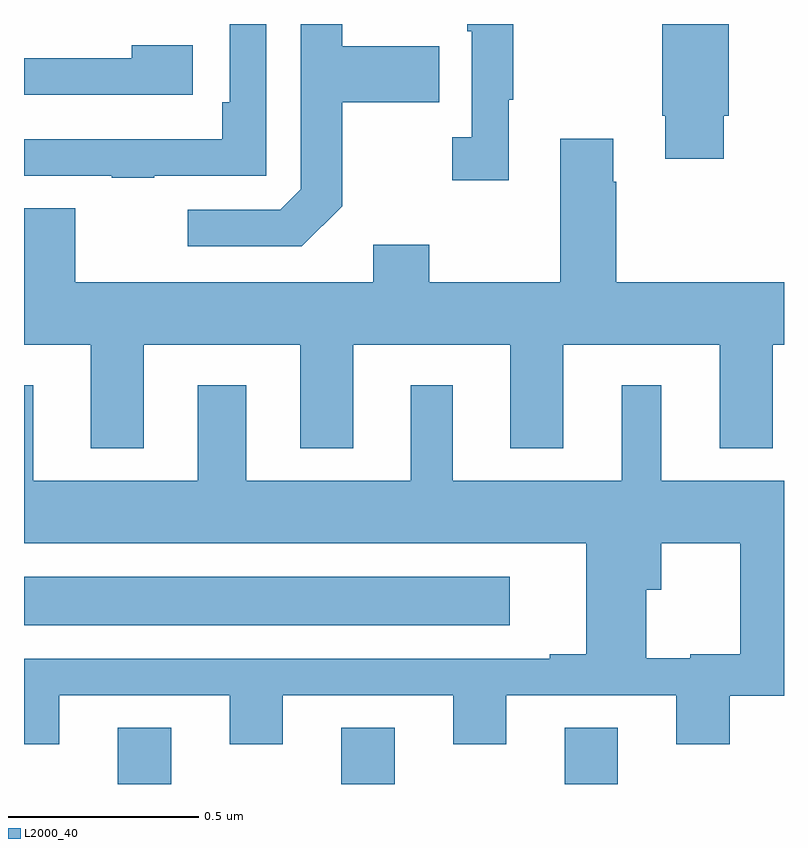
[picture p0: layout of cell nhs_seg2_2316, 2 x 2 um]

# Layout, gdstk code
import gdstk
lib = gdstk.Library(unit=1e-6, precision=1e-09)
def R(c, l, rs):  # rectangles x0, y0, x1, y1
    for r in rs: c.add(gdstk.rectangle(r[:2], r[2:], *l))
def A(c, l, x, y, w, h, nx, ny, dx, dy):  # array of equal rectangles
    R(c, l, [(x+i*dx, y+j*dy, x+i*dx+w, y+j*dy+h) for i in range(nx) for j in range(ny)])
def P(c, l, *ps):  # polygons
    for p in ps: c.add(gdstk.Polygon(p, *l))
L2000_40 = (2000, 40)

nhs_seg2_2316 = lib.new_cell('nhs_seg2_2316')
A(nhs_seg2_2316, L2000_40, 139.247, 659.8, 0.14, 0.148, 3, 1, 0.588, 0)
R(nhs_seg2_2316, L2000_40, [(139,660.218,140.278,660.346)])
P(nhs_seg2_2316, L2000_40, [(139.837,661.321),(139.837,661.594),(140.093,661.594),(140.093,661.741),(139.837,661.741),(139.837,661.8),(139.728,661.8),(139.728,661.365),(139.674,661.311),(139.431,661.311),(139.431,661.215),(139.731,661.215)],
  [(140.275,661.601),(140.287,661.601),(140.287,661.8),(140.166,661.8),(140.166,661.781),(140.178,661.781),(140.178,661.502),(140.127,661.502),(140.127,661.389),(140.275,661.389)],
  [(139.343,661.401),(139.638,661.401),(139.638,661.8),(139.542,661.8),(139.542,661.594),(139.522,661.594),(139.522,661.497),(139,661.497),(139,661.401),(139.231,661.401),(139.231,661.396),(139.343,661.396)],
  [(140.842,661.558),(140.855,661.558),(140.855,661.8),(140.68,661.8),(140.68,661.558),(140.687,661.558),(140.687,661.446),(140.842,661.446)],
  [(139.444,661.744),(139.283,661.744),(139.283,661.71),(139,661.71),(139,661.614),(139.444,661.614)],
  [(139.315,660.956),(139.727,660.956),(139.727,660.683),(139.867,660.683),(139.867,660.956),(140.279,660.956),(140.279,660.683),(140.419,660.683),(140.419,660.956),(140.831,660.956),(140.831,660.683),(140.971,660.683),(140.971,660.956),(141,660.956),(141,661.12),(140.559,661.12),(140.559,661.385),(140.551,661.385),(140.551,661.498),(140.411,661.498),(140.411,661.12),(140.067,661.12),(140.067,661.219),(139.919,661.219),(139.919,661.12),(139.135,661.12),(139.135,661.315),(139,661.315),(139,660.956),(139.175,660.956),(139.175,660.683),(139.315,660.683)],
  [(139,660.129),(139,659.904),(139.093,659.904),(139.093,660.033),(139.541,660.033),(139.541,659.904),(139.681,659.904),(139.681,660.033),(140.129,660.033),(140.129,659.904),(140.269,659.904),(140.269,660.033),(140.717,660.033),(140.717,659.904),(140.857,659.904),(140.857,660.032),(141,660.032),(141,660.598),(140.677,660.598),(140.677,660.85),(140.573,660.85),(140.573,660.598),(140.128,660.598),(140.128,660.85),(140.018,660.85),(140.018,660.598),(139.585,660.598),(139.585,660.85),(139.457,660.85),(139.457,660.598),(139.024,660.598),(139.024,660.85),(139,660.85),(139,660.434),(140.48,660.434),(140.48,660.142),(140.384,660.142),(140.384,660.131),(140.638,660.131),(140.638,660.311),(140.677,660.311),(140.677,660.434),(140.885,660.434),(140.885,660.142),(140.753,660.142),(140.753,660.131),(140.638,660.131),(140.384,660.131),(140.384,660.129)])

lib.write_gds('nhs_seg2_2316.gds')
